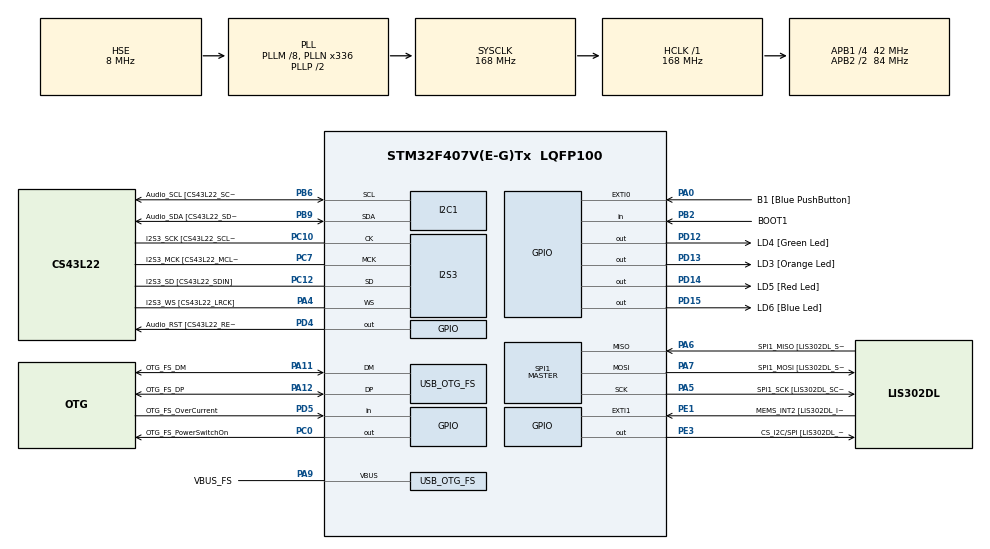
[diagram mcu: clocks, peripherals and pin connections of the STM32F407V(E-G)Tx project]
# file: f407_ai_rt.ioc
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FREERTOS.BinarySemaphores01=dataReadySem,Dynamic,NULL,Available
FREERTOS.Queues01=logQueue,16,4,1,Dynamic,NULL,NULL
FREERTOS.Tasks01=inferenceTask,24,128,StartDefaultTask,Default,NULL,Dynamic,NULL,NULL;SensorTask,32,128,StartSensorTask,Default,NULL,Dynamic,NULL,NULL;LogTask,16,128,StartLogTask,Default,NULL,Dynamic,NULL,NULL
I2S3.AudioFreq-Half_Duplex_Master=I2S_AUDIOFREQ_96K
I2S3.ErrorAudioFreq=-2.34 %
I2S3.ErrorAudioFreq-Half_Duplex_Master=0.8 %
I2S3.FullDuplexMode=I2S_FULLDUPLEXMODE_DISABLE
I2S3.Instance=SPI$Index
I2S3.RealAudioFreq=93.75 KHz
I2S3.RealAudioFreq-Half_Duplex_Master=96.774 KHz
I2S3.VirtualMode=I2S_MODE_MASTER
Mcu.Family=STM32F4
Mcu.Name=STM32F407V(E-G)Tx
Mcu.Package=LQFP100
NVIC.OTG_FS_IRQn=true\:5\:0\:false\:false\:true\:true\:true\:true\:true
NVIC.PriorityGroup=NVIC_PRIORITYGROUP_4
PA0-WKUP.GPIO_Label=B1 [Blue PushButton]
PA0-WKUP.GPIO_ModeDefaultEXTI=GPIO_MODE_EVT_RISING
PA0-WKUP.GPIO_PuPd=GPIO_NOPULL
PA0-WKUP.Signal=GPXTI0
PA10.GPIO_Label=OTG_FS_ID
PA10.GPIO_Mode=GPIO_MODE_AF_PP
PA10.GPIO_PuPd=GPIO_NOPULL
PA10.GPIO_Speed=GPIO_SPEED_FREQ_LOW
PA10.Signal=USB_OTG_FS_ID
PA11.GPIO_Label=OTG_FS_DM
PA11.GPIO_Mode=GPIO_MODE_AF_PP
PA11.GPIO_PuPd=GPIO_NOPULL
PA11.GPIO_Speed=GPIO_SPEED_FREQ_LOW
PA11.Mode=Host_Only
PA11.Signal=USB_OTG_FS_DM
PA12.GPIO_Label=OTG_FS_DP
PA12.GPIO_Mode=GPIO_MODE_AF_PP
PA12.GPIO_PuPd=GPIO_NOPULL
PA12.GPIO_Speed=GPIO_SPEED_FREQ_LOW
PA12.Mode=Host_Only
PA12.Signal=USB_OTG_FS_DP
PA13.GPIO_Label=SWDIO
PA13.Mode=Serial_Wire
PA13.Signal=SYS_JTMS-SWDIO
PA14.GPIO_Label=SWCLK
PA14.Mode=Serial_Wire
PA14.Signal=SYS_JTCK-SWCLK
PA4.GPIO_Label=I2S3_WS [CS43L22_LRCK]
PA4.GPIO_Mode=GPIO_MODE_AF_PP
PA4.GPIO_PuPd=GPIO_NOPULL
PA4.GPIO_Speed=GPIO_SPEED_FREQ_LOW
PA4.Mode=Half_Duplex_Master
PA4.Signal=I2S3_WS
PA5.GPIO_Label=SPI1_SCK [LIS302DL_SCL/SPC]
PA5.GPIO_Mode=GPIO_MODE_AF_PP
PA5.GPIO_PuPd=GPIO_NOPULL
PA5.GPIO_Speed=GPIO_SPEED_FREQ_LOW
PA5.Mode=Full_Duplex_Master
PA5.Signal=SPI1_SCK
PA6.GPIO_Label=SPI1_MISO [LIS302DL_SDO]
PA6.GPIO_Mode=GPIO_MODE_AF_PP
PA6.GPIO_PuPd=GPIO_NOPULL
PA6.GPIO_Speed=GPIO_SPEED_FREQ_LOW
PA6.Mode=Full_Duplex_Master
PA6.Signal=SPI1_MISO
PA7.GPIO_Label=SPI1_MOSI [LIS302DL_SDA/SDI/SDO]
PA7.GPIO_Mode=GPIO_MODE_AF_PP
PA7.GPIO_PuPd=GPIO_NOPULL
PA7.GPIO_Speed=GPIO_SPEED_FREQ_LOW
PA7.Mode=Full_Duplex_Master
PA7.Signal=SPI1_MOSI
PA9.GPIO_Label=VBUS_FS
PA9.GPIO_Mode=GPIO_MODE_INPUT
PA9.GPIO_PuPd=GPIO_NOPULL
PA9.Mode=Activate_VBUS
PA9.Signal=USB_OTG_FS_VBUS
PB10.GPIO_Label=CLK_IN [MP45DT02_CLK]
PB10.GPIO_Mode=GPIO_MODE_AF_PP
PB10.GPIO_PuPd=GPIO_NOPULL
PB10.GPIO_Speed=GPIO_SPEED_FREQ_LOW
PB10.Signal=I2S2_CK
PB2.GPIO_Label=BOOT1
PB2.GPIO_Mode=GPIO_MODE_INPUT
PB2.GPIO_PuPd=GPIO_NOPULL
PB2.Signal=GPIO_Input
PB3.GPIO_Label=SWO
PB3.Signal=SYS_JTDO-SWO
PB6.GPIO_Label=Audio_SCL [CS43L22_SCL]
PB6.GPIO_Mode=GPIO_MODE_AF_OD
PB6.GPIO_Pu=GPIO_PULLUP
PB6.GPIO_PuPd=GPIO_NOPULL
PB6.GPIO_Speed=GPIO_SPEED_FREQ_LOW
PB6.Mode=I2C
PB6.Signal=I2C1_SCL
PB9.GPIO_Label=Audio_SDA [CS43L22_SDA]
PB9.GPIO_Mode=GPIO_MODE_AF_OD
PB9.GPIO_Pu=GPIO_PULLUP
PB9.GPIO_PuPd=GPIO_NOPULL
PB9.GPIO_Speed=GPIO_SPEED_FREQ_LOW
PB9.Mode=I2C
PB9.Signal=I2C1_SDA
PC0.GPIO_Label=OTG_FS_PowerSwitchOn
PC0.GPIO_PuPd=GPIO_NOPULL
PC0.GPIO_Speed=GPIO_SPEED_FREQ_LOW
PC0.PinState=GPIO_PIN_SET
PC0.Signal=GPIO_Output
PC10.GPIO_Label=I2S3_SCK [CS43L22_SCLK]
PC10.GPIO_Mode=GPIO_MODE_AF_PP
PC10.GPIO_PuPd=GPIO_NOPULL
PC10.GPIO_Speed=GPIO_SPEED_FREQ_LOW
PC10.Mode=Half_Duplex_Master
PC10.Signal=I2S3_CK
PC12.GPIO_Label=I2S3_SD [CS43L22_SDIN]
PC12.GPIO_Mode=GPIO_MODE_AF_PP
PC12.GPIO_PuPd=GPIO_NOPULL
PC12.GPIO_Speed=GPIO_SPEED_FREQ_LOW
PC12.Mode=Half_Duplex_Master
PC12.Signal=I2S3_SD
PC14-OSC32_IN.GPIO_Label=PC14-OSC32_IN
PC14-OSC32_IN.Mode=LSE-External-Oscillator
PC14-OSC32_IN.Signal=RCC_OSC32_IN
PC15-OSC32_OUT.GPIO_Label=PC15-OSC32_OUT
PC15-OSC32_OUT.Mode=LSE-External-Oscillator
PC15-OSC32_OUT.Signal=RCC_OSC32_OUT
PC3.GPIO_Label=PDM_OUT [MP45DT02_DOUT]
PC3.GPIO_Mode=GPIO_MODE_AF_PP
PC3.GPIO_PuPd=GPIO_NOPULL
PC3.GPIO_Speed=GPIO_SPEED_FREQ_LOW
PC3.Signal=I2S2_SD
PC7.GPIO_Label=I2S3_MCK [CS43L22_MCLK]
PC7.GPIO_Mode=GPIO_MODE_AF_PP
PC7.GPIO_PuPd=GPIO_NOPULL
PC7.GPIO_Speed=GPIO_SPEED_FREQ_LOW
PC7.Mode=Master_Clock_Activated
PC7.Signal=I2S3_MCK
PD12.GPIO_Label=LD4 [Green Led]
PD12.GPIO_PuPd=GPIO_NOPULL
PD12.GPIO_Speed=GPIO_SPEED_FREQ_LOW
PD12.Signal=GPIO_Output
PD13.GPIO_Label=LD3 [Orange Led]
PD13.GPIO_PuPd=GPIO_NOPULL
PD13.GPIO_Speed=GPIO_SPEED_FREQ_LOW
PD13.Signal=GPIO_Output
PD14.GPIO_Label=LD5 [Red Led]
PD14.GPIO_PuPd=GPIO_NOPULL
PD14.GPIO_Speed=GPIO_SPEED_FREQ_LOW
PD14.Signal=GPIO_Output
PD15.GPIO_Label=LD6 [Blue Led]
PD15.GPIO_PuPd=GPIO_NOPULL
PD15.GPIO_Speed=GPIO_SPEED_FREQ_LOW
PD15.Signal=GPIO_Output
PD4.GPIO_Label=Audio_RST [CS43L22_RESET]
PD4.GPIO_PuPd=GPIO_NOPULL
PD4.GPIO_Speed=GPIO_SPEED_FREQ_LOW
PD4.Signal=GPIO_Output
PD5.GPIO_Label=OTG_FS_OverCurrent
PD5.GPIO_Mode=GPIO_MODE_INPUT
PD5.GPIO_PuPd=GPIO_NOPULL
PD5.Signal=GPIO_Input
PE1.GPIO_Label=MEMS_INT2 [LIS302DL_INT2]
PE1.GPIO_ModeDefaultEXTI=GPIO_MODE_EVT_RISING
PE1.GPIO_PuPd=GPIO_NOPULL
PE1.Signal=GPXTI1
PE3.GPIO_Label=CS_I2C/SPI [LIS302DL_CS_I2C/SPI]
PE3.GPIO_PuPd=GPIO_NOPULL
PE3.GPIO_Speed=GPIO_SPEED_FREQ_LOW
PE3.Signal=GPIO_Output
PH0-OSC_IN.GPIO_Label=PH0-OSC_IN
PH0-OSC_IN.Mode=HSE-External-Oscillator
PH0-OSC_IN.Signal=RCC_OSC_IN
PH1-OSC_OUT.GPIO_Label=PH1-OSC_OUT
PH1-OSC_OUT.Mode=HSE-External-Oscillator
PH1-OSC_OUT.Signal=RCC_OSC_OUT
ProjectManager.HeapSize=0x800
ProjectManager.StackSize=0x800
ProjectManager.TargetToolchain=STM32CubeIDE
RCC.48MHZClocksFreq_Value=48000000
RCC.AHBFreq_Value=168000000
RCC.APB1CLKDivider=RCC_HCLK_DIV4
RCC.APB1Freq_Value=42000000
RCC.APB1TimFreq_Value=84000000
RCC.APB2CLKDivider=RCC_HCLK_DIV2
RCC.APB2Freq_Value=84000000
RCC.APB2TimFreq_Value=168000000
RCC.CortexFreq_Value=168000000
RCC.HCLKFreq_Value=168000000
RCC.HSE_VALUE=8000000
RCC.HSI_VALUE=16000000
RCC.PLLM=8
RCC.PLLN=336
RCC.PLLQ=7
RCC.SYSCLKFreq_VALUE=168000000
RCC.SYSCLKSource=RCC_SYSCLKSOURCE_PLLCLK
RCC.VCOOutputFreq_Value=336000000
SPI1.BaudRatePrescaler-Full_Duplex_Master=SPI_BAUDRATEPRESCALER_2
SPI1.CalculateBaudRate-Full_Duplex_Master=42.0 MBits/s
SPI1.Direction=SPI_DIRECTION_2LINES
SPI1.Mode=SPI_MODE_MASTER
SPI1.Mode-Full_Duplex_Master=SPI_MODE_MASTER
SPI1.VirtualType=VM_MASTER
STMicroelectronics.X-CUBE-AI.10.2.0.ActivationBufferSizeList=4340
STMicroelectronics.X-CUBE-AI.10.2.0.ActivationBuffers=pool0
STMicroelectronics.X-CUBE-AI.10.2.0.ActivationNames=pool0
STMicroelectronics.X-CUBE-AI.10.2.0.ActivationSizes=AI_NETWORK_DATA_ACTIVATION_1_SIZE
STMicroelectronics.X-CUBE-AI.10.2.0.ApplicationCcDeviceJjApplication=ApplicationTemplate
STMicroelectronics.X-CUBE-AI.10.2.0.HeapSize=0x800
STMicroelectronics.X-CUBE-AI.10.2.0.InternalRamActivationBufferMaxSize=AI_NETWORK_DATA_ACTIVATIONS_SIZE
STMicroelectronics.X-CUBE-AI.10.2.0.LatestDirectoryUsed-7613395b816b2f37a1acb49379b504687b11d6fae5a03fafd237a772b61c17d4=/Users/batusengezer/PycharmProjects/stm32-ai
STMicroelectronics.X-CUBE-AI.10.2.0.MaximumNumberOfInputLayer=1
STMicroelectronics.X-CUBE-AI.10.2.0.MaximumNumberOfOutputLayer=1
STMicroelectronics.X-CUBE-AI.10.2.0.MaximumSizeOfInputLayer=1
STMicroelectronics.X-CUBE-AI.10.2.0.MaximumSizeOfOutputLayer=1
STMicroelectronics.X-CUBE-AI.10.2.0.ModelActualCompression-7613395b816b2f37a1acb49379b504687b11d6fae5a03fafd237a772b61c17d4=0.0
STMicroelectronics.X-CUBE-AI.10.2.0.ModelCompression-7613395b816b2f37a1acb49379b504687b11d6fae5a03fafd237a772b61c17d4=None
STMicroelectronics.X-CUBE-AI.10.2.0.ModelFlashOccupation-7613395b816b2f37a1acb49379b504687b11d6fae5a03fafd237a772b61c17d4=52499
STMicroelectronics.X-CUBE-AI.10.2.0.ModelHashList=7613395b816b2f37a1acb49379b504687b11d6fae5a03fafd237a772b61c17d4
STMicroelectronics.X-CUBE-AI.10.2.0.ModelKind-7613395b816b2f37a1acb49379b504687b11d6fae5a03fafd237a772b61c17d4=TFLITE
STMicroelectronics.X-CUBE-AI.10.2.0.ModelMacc-7613395b816b2f37a1acb49379b504687b11d6fae5a03fafd237a772b61c17d4=38336
STMicroelectronics.X-CUBE-AI.10.2.0.ModelName-7613395b816b2f37a1acb49379b504687b11d6fae5a03fafd237a772b61c17d4=network
STMicroelectronics.X-CUBE-AI.10.2.0.ModelNameList=network
STMicroelectronics.X-CUBE-AI.10.2.0.ModelRamOccupation-7613395b816b2f37a1acb49379b504687b11d6fae5a03fafd237a772b61c17d4=4340
STMicroelectronics.X-CUBE-AI.10.2.0.ModelStructureFile-7613395b816b2f37a1acb49379b504687b11d6fae5a03fafd237a772b61c17d4=/Users/batusengezer/PycharmProjects/stm32-ai/model_int8.tflite
STMicroelectronics.X-CUBE-AI.10.2.0.ModelType-7613395b816b2f37a1acb49379b504687b11d6fae5a03fafd237a772b61c17d4=STM32Cube.AI MCU runtime
STMicroelectronics.X-CUBE-AI.10.2.0.ReadyForCodeGeneration=true
STMicroelectronics.X-CUBE-AI.10.2.0.StackSize=0x800
STMicroelectronics.X-CUBE-AI.10.2.0.WorkingBufferStartAddrList=0xFFFFFFFF
STMicroelectronics.X-CUBE-AI.10.2.0.XAaCUBEAaAICcArtificialOoIntelligenceJjCore=true
STMicroelectronics.X-CUBE-AI.10.2.0.copyWeightToRam=false
STMicroelectronics.X-CUBE-AI.10.2.0.copyWeightToRam-7613395b816b2f37a1acb49379b504687b11d6fae5a03fafd237a772b61c17d4=false
STMicroelectronics.X-CUBE-AI.10.2.0.customLayerConfigEnabled=false
STMicroelectronics.X-CUBE-AI.10.2.0.customLayerConfigEnabled-7613395b816b2f37a1acb49379b504687b11d6fae5a03fafd237a772b61c17d4=false
STMicroelectronics.X-CUBE-AI.10.2.0.noOnnxIoTranspose=false
STMicroelectronics.X-CUBE-AI.10.2.0.noOnnxIoTranspose-7613395b816b2f37a1acb49379b504687b11d6fae5a03fafd237a772b61c17d4=false
STMicroelectronics.X-CUBE-AI.10.2.0.useInputAllocation=true
STMicroelectronics.X-CUBE-AI.10.2.0.useInputAllocation-7613395b816b2f37a1acb49379b504687b11d6fae5a03fafd237a772b61c17d4=true
STMicroelectronics.X-CUBE-AI.10.2.0.useOutputAllocation=true
STMicroelectronics.X-CUBE-AI.10.2.0.useOutputAllocation-7613395b816b2f37a1acb49379b504687b11d6fae5a03fafd237a772b61c17d4=true
USB_HOST.BSP.number=1
USB_HOST.USBH_HandleTypeDef-CDC_FS=hUsbHostFS
USB_HOST.VirtualModeFS=Cdc
USB_HOST0.BSP.STBoard=false
USB_HOST0.BSP.api=Unknown
USB_HOST0.BSP.instance=PC0
USB_HOST0.BSP.ip=GPIO
USB_HOST0.BSP.mode=Output
USB_HOST0.BSP.name=Drive_VBUS_FS
USB_HOST0.BSP.solution=PC0
USB_OTG_FS.VirtualMode=Host_Only
USB_OTG_FS.phy_itface=HCD_PHY_EMBEDDED
VP_FREERTOS_VS_CMSIS_V2.Mode=CMSIS_V2
VP_STMicroelectronics.X-CUBE-AI_VS_ArtificialOoIntelligenceJjXAaCUBEAaAI_10.2.0.Mode=ArtificialOoIntelligenceJjXAaCUBEAaAI
VP_STMicroelectronics.X-CUBE-AI_VS_DeviceJjApplication_10.2.0.Mode=DeviceJjApplication
VP_USB_HOST_VS_USB_HOST_CDC_FS.Mode=CDC_FS
board=STM32F407G-DISC1

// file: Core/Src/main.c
/* USER CODE BEGIN Header */
/**
  ******************************************************************************
  * @file           : main.c
  * @brief          : Main program body
  ******************************************************************************
  * @attention
  *
  * Copyright (c) 2026 STMicroelectronics.
  * All rights reserved.
  *
  * This software is licensed under terms that can be found in the LICENSE file
  * in the root directory of this software component.
  * If no LICENSE file comes with this software, it is provided AS-IS.
  *
  ******************************************************************************
  */
/* USER CODE END Header */
#include "main.h"
#include "cmsis_os.h"
#include "app_x-cube-ai.h"
#include "usb_host.h"
#include "ai_datatypes_defines.h"
#include "network.h"
#include <math.h>
#include "test_samples.h"

I2C_HandleTypeDef hi2c1;

I2S_HandleTypeDef hi2s3;

SPI_HandleTypeDef hspi1;

#define STAT_COUNT 1000

uint32_t cyc_min;
uint32_t cyc_max;
uint64_t cyc_sum;
uint64_t cyc_sum_sq;    // for σ — use 64-bit to avoid overflow
uint32_t cyc_n;

// Final results — watch these in the debugger
volatile float result_mean_us;
volatile float result_max_us;
volatile float result_min_us;
volatile float result_sigma_us;
volatile uint8_t stats_ready = 0;   // goes to 1 when done

/* Definitions for inferenceTask */
osThreadId_t inferenceTaskHandle;
const osThreadAttr_t inferenceTask_attributes = {
  .name = "inferenceTask",
  .stack_size = 128 * 4,
  .priority = (osPriority_t) osPriorityNormal,
};
/* Definitions for SensorTask */
osThreadId_t SensorTaskHandle;
const osThreadAttr_t SensorTask_attributes = {
  .name = "SensorTask",
  .stack_size = 128 * 4,
  .priority = (osPriority_t) osPriorityAboveNormal,
};
/* Definitions for LogTask */
osThreadId_t LogTaskHandle;
const osThreadAttr_t LogTask_attributes = {
  .name = "LogTask",
  .stack_size = 128 * 4,
  .priority = (osPriority_t) osPriorityBelowNormal,
};
/* Definitions for logQueue */
osMessageQueueId_t logQueueHandle;
const osMessageQueueAttr_t logQueue_attributes = {
  .name = "logQueue"
};
/* Definitions for dataReadySem */
osSemaphoreId_t dataReadySemHandle;
const osSemaphoreAttr_t dataReadySem_attributes = {
  .name = "dataReadySem"
};

void SystemClock_Config(void);
static void MX_GPIO_Init(void);
static void MX_I2C1_Init(void);
static void MX_I2S3_Init(void);
static void MX_SPI1_Init(void);
void StartDefaultTask(void *argument);
void StartSensorTask(void *argument);
void StartLogTask(void *argument);

int main(void)
{

  /* MCU Configuration--------------------------------------------------------*/

  /* Reset of all peripherals, Initializes the Flash interface and the Systick. */
  HAL_Init();

  /* Configure the system clock */
  SystemClock_Config();

  /* Initialize all configured peripherals */
  MX_GPIO_Init();
  MX_I2C1_Init();
  MX_I2S3_Init();
  MX_SPI1_Init();
  MX_X_CUBE_AI_Init();

  /* Init scheduler */
  osKernelInitialize();

  /* Create the semaphores(s) */
  /* creation of dataReadySem */
  dataReadySemHandle = osSemaphoreNew(1, 1, &dataReadySem_attributes);

  /* Create the queue(s) */
  /* creation of logQueue */
  logQueueHandle = osMessageQueueNew (16, 4, &logQueue_attributes);

  /* Create the thread(s) */
  /* creation of inferenceTask */
  inferenceTaskHandle = osThreadNew(StartDefaultTask, NULL, &inferenceTask_attributes);

  /* creation of SensorTask */
  SensorTaskHandle = osThreadNew(StartSensorTask, NULL, &SensorTask_attributes);

  /* creation of LogTask */
  LogTaskHandle = osThreadNew(StartLogTask, NULL, &LogTask_attributes);

  /* Start scheduler */
  osKernelStart();

  /* We should never get here as control is now taken by the scheduler */

  /* Infinite loop */
  while (1)
  {

  }
}

void SystemClock_Config(void)
{
  RCC_OscInitTypeDef RCC_OscInitStruct = {0};
  RCC_ClkInitTypeDef RCC_ClkInitStruct = {0};

  /** Configure the main internal regulator output voltage
  */
  __HAL_RCC_PWR_CLK_ENABLE();
  __HAL_PWR_VOLTAGESCALING_CONFIG(PWR_REGULATOR_VOLTAGE_SCALE1);

  /** Initializes the RCC Oscillators according to the specified parameters
  * in the RCC_OscInitTypeDef structure.
  */
  RCC_OscInitStruct.OscillatorType = RCC_OSCILLATORTYPE_HSE;
  RCC_OscInitStruct.HSEState = RCC_HSE_ON;
  RCC_OscInitStruct.PLL.PLLState = RCC_PLL_ON;
  RCC_OscInitStruct.PLL.PLLSource = RCC_PLLSOURCE_HSE;
  RCC_OscInitStruct.PLL.PLLM = 8;
  RCC_OscInitStruct.PLL.PLLN = 336;
  RCC_OscInitStruct.PLL.PLLP = RCC_PLLP_DIV2;
  RCC_OscInitStruct.PLL.PLLQ = 7;
  if (HAL_RCC_OscConfig(&RCC_OscInitStruct) != HAL_OK)
  {
    Error_Handler();
  }

  /** Initializes the CPU, AHB and APB buses clocks
  */
  RCC_ClkInitStruct.ClockType = RCC_CLOCKTYPE_HCLK|RCC_CLOCKTYPE_SYSCLK
                              |RCC_CLOCKTYPE_PCLK1|RCC_CLOCKTYPE_PCLK2;
  RCC_ClkInitStruct.SYSCLKSource = RCC_SYSCLKSOURCE_PLLCLK;
  RCC_ClkInitStruct.AHBCLKDivider = RCC_SYSCLK_DIV1;
  RCC_ClkInitStruct.APB1CLKDivider = RCC_HCLK_DIV4;
  RCC_ClkInitStruct.APB2CLKDivider = RCC_HCLK_DIV2;

  if (HAL_RCC_ClockConfig(&RCC_ClkInitStruct, FLASH_LATENCY_5) != HAL_OK)
  {
    Error_Handler();
  }
}

static void MX_I2C1_Init(void)
{

  hi2c1.Instance = I2C1;
  hi2c1.Init.ClockSpeed = 100000;
  hi2c1.Init.DutyCycle = I2C_DUTYCYCLE_2;
  hi2c1.Init.OwnAddress1 = 0;
  hi2c1.Init.AddressingMode = I2C_ADDRESSINGMODE_7BIT;
  hi2c1.Init.DualAddressMode = I2C_DUALADDRESS_DISABLE;
  hi2c1.Init.OwnAddress2 = 0;
  hi2c1.Init.GeneralCallMode = I2C_GENERALCALL_DISABLE;
  hi2c1.Init.NoStretchMode = I2C_NOSTRETCH_DISABLE;
  if (HAL_I2C_Init(&hi2c1) != HAL_OK)
  {
    Error_Handler();
  }

}

static void MX_I2S3_Init(void)
{

  hi2s3.Instance = SPI3;
  hi2s3.Init.Mode = I2S_MODE_MASTER_TX;
  hi2s3.Init.Standard = I2S_STANDARD_PHILIPS;
  hi2s3.Init.DataFormat = I2S_DATAFORMAT_16B;
  hi2s3.Init.MCLKOutput = I2S_MCLKOUTPUT_ENABLE;
  hi2s3.Init.AudioFreq = I2S_AUDIOFREQ_96K;
  hi2s3.Init.CPOL = I2S_CPOL_LOW;
  hi2s3.Init.ClockSource = I2S_CLOCK_PLL;
  hi2s3.Init.FullDuplexMode = I2S_FULLDUPLEXMODE_DISABLE;
  if (HAL_I2S_Init(&hi2s3) != HAL_OK)
  {
    Error_Handler();
  }

}

static void MX_SPI1_Init(void)
{

  /* SPI1 parameter configuration*/
  hspi1.Instance = SPI1;
  hspi1.Init.Mode = SPI_MODE_MASTER;
  hspi1.Init.Direction = SPI_DIRECTION_2LINES;
  hspi1.Init.DataSize = SPI_DATASIZE_8BIT;
  hspi1.Init.CLKPolarity = SPI_POLARITY_LOW;
  hspi1.Init.CLKPhase = SPI_PHASE_1EDGE;
  hspi1.Init.NSS = SPI_NSS_SOFT;
  hspi1.Init.BaudRatePrescaler = SPI_BAUDRATEPRESCALER_2;
  hspi1.Init.FirstBit = SPI_FIRSTBIT_MSB;
  hspi1.Init.TIMode = SPI_TIMODE_DISABLE;
  hspi1.Init.CRCCalculation = SPI_CRCCALCULATION_DISABLE;
  hspi1.Init.CRCPolynomial = 10;
  if (HAL_SPI_Init(&hspi1) != HAL_OK)
  {
    Error_Handler();
  }

}

static void MX_GPIO_Init(void)
{
  GPIO_InitTypeDef GPIO_InitStruct = {0};

  /* GPIO Ports Clock Enable */
  __HAL_RCC_GPIOE_CLK_ENABLE();
  __HAL_RCC_GPIOC_CLK_ENABLE();
  __HAL_RCC_GPIOH_CLK_ENABLE();
  __HAL_RCC_GPIOA_CLK_ENABLE();
  __HAL_RCC_GPIOB_CLK_ENABLE();
  __HAL_RCC_GPIOD_CLK_ENABLE();

  /*Configure GPIO pin Output Level */
  HAL_GPIO_WritePin(CS_I2C_SPI_GPIO_Port, CS_I2C_SPI_Pin, GPIO_PIN_RESET);

  /*Configure GPIO pin Output Level */
  HAL_GPIO_WritePin(OTG_FS_PowerSwitchOn_GPIO_Port, OTG_FS_PowerSwitchOn_Pin, GPIO_PIN_SET);

  /*Configure GPIO pin Output Level */
  HAL_GPIO_WritePin(GPIOD, LD4_Pin|LD3_Pin|LD5_Pin|LD6_Pin
                          |Audio_RST_Pin, GPIO_PIN_RESET);

  /*Configure GPIO pin : CS_I2C_SPI_Pin */
  GPIO_InitStruct.Pin = CS_I2C_SPI_Pin;
  GPIO_InitStruct.Mode = GPIO_MODE_OUTPUT_PP;
  GPIO_InitStruct.Pull = GPIO_NOPULL;
  GPIO_InitStruct.Speed = GPIO_SPEED_FREQ_LOW;
  HAL_GPIO_Init(CS_I2C_SPI_GPIO_Port, &GPIO_InitStruct);

  /*Configure GPIO pin : OTG_FS_PowerSwitchOn_Pin */
  GPIO_InitStruct.Pin = OTG_FS_PowerSwitchOn_Pin;
  GPIO_InitStruct.Mode = GPIO_MODE_OUTPUT_PP;
  GPIO_InitStruct.Pull = GPIO_NOPULL;
  GPIO_InitStruct.Speed = GPIO_SPEED_FREQ_LOW;
  HAL_GPIO_Init(OTG_FS_PowerSwitchOn_GPIO_Port, &GPIO_InitStruct);

  /*Configure GPIO pin : PDM_OUT_Pin */
  GPIO_InitStruct.Pin = PDM_OUT_Pin;
  GPIO_InitStruct.Mode = GPIO_MODE_AF_PP;
  GPIO_InitStruct.Pull = GPIO_NOPULL;
  GPIO_InitStruct.Speed = GPIO_SPEED_FREQ_LOW;
  GPIO_InitStruct.Alternate = GPIO_AF5_SPI2;
  HAL_GPIO_Init(PDM_OUT_GPIO_Port, &GPIO_InitStruct);

  /*Configure GPIO pin : B1_Pin */
  GPIO_InitStruct.Pin = B1_Pin;
  GPIO_InitStruct.Mode = GPIO_MODE_EVT_RISING;
  GPIO_InitStruct.Pull = GPIO_NOPULL;
  HAL_GPIO_Init(B1_GPIO_Port, &GPIO_InitStruct);

  /*Configure GPIO pin : BOOT1_Pin */
  GPIO_InitStruct.Pin = BOOT1_Pin;
  GPIO_InitStruct.Mode = GPIO_MODE_INPUT;
  GPIO_InitStruct.Pull = GPIO_NOPULL;
  HAL_GPIO_Init(BOOT1_GPIO_Port, &GPIO_InitStruct);

  /*Configure GPIO pin : CLK_IN_Pin */
  GPIO_InitStruct.Pin = CLK_IN_Pin;
  GPIO_InitStruct.Mode = GPIO_MODE_AF_PP;
  GPIO_InitStruct.Pull = GPIO_NOPULL;
  GPIO_InitStruct.Speed = GPIO_SPEED_FREQ_LOW;
  GPIO_InitStruct.Alternate = GPIO_AF5_SPI2;
  HAL_GPIO_Init(CLK_IN_GPIO_Port, &GPIO_InitStruct);

  /*Configure GPIO pins : LD4_Pin LD3_Pin LD5_Pin LD6_Pin
                           Audio_RST_Pin */
  GPIO_InitStruct.Pin = LD4_Pin|LD3_Pin|LD5_Pin|LD6_Pin
                          |Audio_RST_Pin;
  GPIO_InitStruct.Mode = GPIO_MODE_OUTPUT_PP;
  GPIO_InitStruct.Pull = GPIO_NOPULL;
  GPIO_InitStruct.Speed = GPIO_SPEED_FREQ_LOW;
  HAL_GPIO_Init(GPIOD, &GPIO_InitStruct);

  /*Configure GPIO pin : OTG_FS_OverCurrent_Pin */
  GPIO_InitStruct.Pin = OTG_FS_OverCurrent_Pin;
  GPIO_InitStruct.Mode = GPIO_MODE_INPUT;
  GPIO_InitStruct.Pull = GPIO_NOPULL;
  HAL_GPIO_Init(OTG_FS_OverCurrent_GPIO_Port, &GPIO_InitStruct);

  /*Configure GPIO pin : MEMS_INT2_Pin */
  GPIO_InitStruct.Pin = MEMS_INT2_Pin;
  GPIO_InitStruct.Mode = GPIO_MODE_EVT_RISING;
  GPIO_InitStruct.Pull = GPIO_NOPULL;
  HAL_GPIO_Init(MEMS_INT2_GPIO_Port, &GPIO_InitStruct);

}

void StartDefaultTask(void *argument)
{
  /* init code for USB_HOST */
  MX_USB_HOST_Init();
  /* USER CODE BEGIN 5 */
  /* Enable DWT cycle counter */
  CoreDebug->DEMCR |= CoreDebug_DEMCR_TRCENA_Msk;
  DWT->CYCCNT = 0;
  DWT->CTRL |= DWT_CTRL_CYCCNTENA_Msk;

  /* Init AI network */
  //MX_X_CUBE_AI_Init();

  uint32_t cycles;
  uint32_t start;

  for(;;)
  {
    /* Wait for data from SensorTask */
    osSemaphoreAcquire(dataReadySemHandle, osWaitForever);

    /* Measure inference time */
    start = DWT->CYCCNT;
    MX_X_CUBE_AI_Process();
    cycles = DWT->CYCCNT - start;

    /* Send cycle count to LogTask */
    osMessageQueuePut(logQueueHandle, &cycles, 0, 0);
  }
  /* USER CODE END 5 */
}

void StartSensorTask(void *argument)
{
	/* USER CODE BEGIN StartSensorTask */

	static uint8_t sample_index = 0;

	for(;;)
	{
	  /* Copy next test sample into model input buffer */
	  for(int i = 0; i < SAMPLE_SIZE; i++)
	  {
		  AI_FillInput(test_samples[sample_index], SAMPLE_SIZE);
		  osSemaphoreRelease(dataReadySemHandle);
		  sample_index = (sample_index + 1) % NUM_TEST_SAMPLES;
		  osDelay(100);
	  }

	  /* Release semaphore to trigger inference */
	  osSemaphoreRelease(dataReadySemHandle);

	  /* Advance to next sample, wrap around */
	  sample_index = (sample_index + 1) % NUM_TEST_SAMPLES;

	  /* Wait 100ms before next sample */
	  osDelay(100);
	}
	/* USER CODE END StartSensorTask */
}

void StartLogTask(void *argument)
{
	/* USER CODE BEGIN StartLogTask */
	uint32_t cycles;
	cyc_min = UINT32_MAX;
	cyc_max = 0;
	cyc_sum = 0;
	cyc_sum_sq = 0;
	cyc_n = 0;

	for (;;)
	{
		if (osMessageQueueGet(logQueueHandle, &cycles, NULL, osWaitForever) == osOK)
		{
			if (cyc_n < STAT_COUNT)
			{
				if (cycles < cyc_min) cyc_min = cycles;
				if (cycles > cyc_max) cyc_max = cycles;
				cyc_sum    += cycles;
				cyc_sum_sq += (uint64_t)cycles * cycles;
				cyc_n++;

				/* Toggle green LED on each inference */
				HAL_GPIO_TogglePin(GPIOD, GPIO_PIN_12);

				/* Toggle orange LED every 100 inferences */
				if(cyc_n % 100 == 0)
				{
				    HAL_GPIO_TogglePin(GPIOD, GPIO_PIN_13);
				}

				if (cyc_n == STAT_COUNT)
				{
					// Compute final stats — divide by 168.0f to get µs
					float mean   = (float)(cyc_sum / STAT_COUNT) / 168.0f;
					float mean_sq = (float)(cyc_sum_sq / STAT_COUNT) / (168.0f * 168.0f);
					float variance = mean_sq - (mean * mean);
					float sigma  = sqrtf(variance);   // needs #include <math.h>

					result_mean_us  = mean;
					result_min_us   = (float)cyc_min / 168.0f;
					result_max_us   = (float)cyc_max / 168.0f;
					result_sigma_us = sigma;
					stats_ready = 1;   // <-- breakpoint here
				}
			}
			// After STAT_COUNT, just drain the queue silently
		}
	}
	/* USER CODE END StartLogTask */
}

void Error_Handler(void)
{
  __disable_irq();
  while (1)
  {
  }
}
